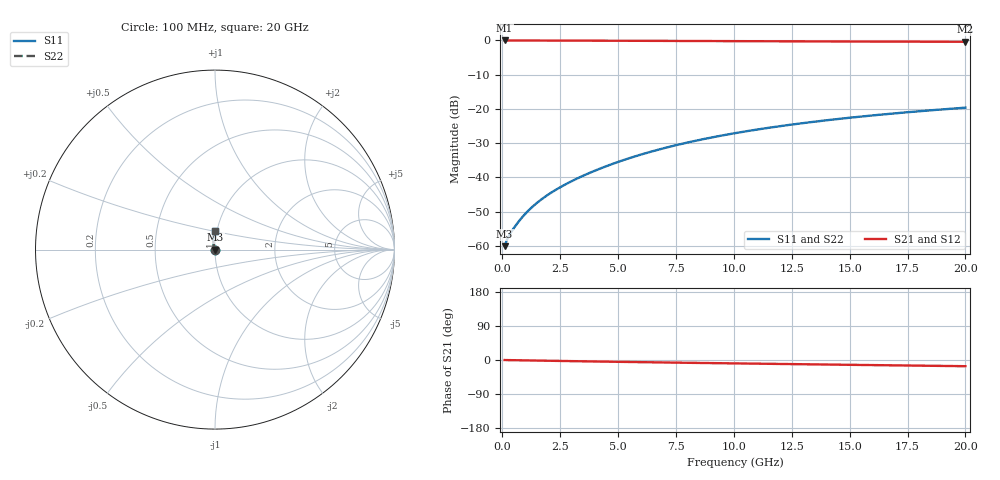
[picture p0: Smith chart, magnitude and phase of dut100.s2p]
! Touchstone file exported from HFSS 2024.1.0
!  File:  C:/UserFiles/LocalFiles/RDL_TSV_Batchsim/temp_RDL_bottom_100_1778695147.aedt
!  Generated:  02:01:37 AM May 14, 2026
!  Design:  RDL_bottom
!  Project:  temp_RDL_bottom_100_1778695147
!  Setup:  Setup1
!  Solution:  Sweep
! Variables:
!  dtsv = 10.80580581um
!  hbump = 3um
!  htsv = 74.01um
!  ldown = 273.04um
!  lrdl = 100um
!  p = 40
!  p1 = 41.92um
!  rhole = 1um
!  t = 450um
!  tdown = 4.8um
!  trdl = 3.915915916um
!  wdown = 29.93um
!  wrdl = 20um
# GHz S MA R 50.000000
! Terminal data exported
! Port[1] = RDL1_T1
! Port[2] = RDL1_T2
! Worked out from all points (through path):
!   200 points, 100 MHz to 20 GHz, reference 50 ohm
!   highest |S21| = -0.01 dB at 100 MHz (marker M1); lowest = -0.4 dB at 20 GHz (marker M2)
!   group delay of S21, straight-line fit = 2.22 ps
!   lowest |S11| = -60.1 dB at 100 MHz (marker M3), VSWR 1.00, Z = 50.1 + j0.0416 ohm
!   |S11| at or under -10 dB: start of sweep to end of sweep
!   |S22| runs from -60.1 to -19.6 dB; largest |S21 - S12| = 3.1e-15
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0.1  0.0009867 24.9  0.9991 -0.1  0.9991 -0.1  0.0009867 24.9
! Gamma 0 0 0 0
! Port Impedance 50 0 50 0
0.2  0.001225 35.7  0.999 -0.2  0.999 -0.2  0.001225 35.7
0.3  0.001426 42.8  0.9989 -0.3  0.9989 -0.3  0.001426 42.8
0.5  0.001817 54.2  0.9987 -0.5  0.9987 -0.5  0.001817 54.2
0.7  0.002246 62.8  0.9985 -0.7  0.9985 -0.7  0.002246 62.8
0.9  0.002709 69.2  0.9983 -0.9  0.9983 -0.9  0.002709 69.2
1.3  0.003712 78.0  0.9979 -1.3  0.9979 -1.3  0.003712 78.0
1.7  0.004789 83.9  0.9974 -1.7  0.9974 -1.7  0.004789 83.9
2.2  0.006236 89.3  0.9965 -2.2  0.9965 -2.2  0.006235 89.3
2.8  0.008129 94.1  0.9952 -2.8  0.9952 -2.8  0.008129 94.1
3.5  0.01058 98.1  0.9935 -3.5  0.9935 -3.5  0.01058 98.1
4.2  0.01332 100.9  0.9916 -4.1  0.9916 -4.1  0.01332 100.9
5  0.01678 103.0  0.9893 -4.9  0.9893 -4.9  0.01678 103.0
5.9  0.02106 104.2  0.9866 -5.6  0.9866 -5.6  0.02105 104.2
6.8  0.02568 104.6  0.984 -6.4  0.984 -6.4  0.02567 104.5
8.4  0.03452 103.9  0.9793 -7.7  0.9793 -7.7  0.03452 103.8
10.1  0.04448 102.1  0.9748 -9.0  0.9748 -9.0  0.04447 102.1
11.7  0.05412 100.0  0.9709 -10.3  0.9709 -10.3  0.05411 100.0
13.4  0.06448 97.7  0.9672 -11.5  0.9672 -11.5  0.06447 97.7
15  0.07423 95.4  0.964 -12.7  0.964 -12.7  0.07421 95.4
16.7  0.08452 93.1  0.9608 -14.0  0.9608 -14.0  0.0845 93.1
20  0.1042 88.8  0.9553 -16.4  0.9553 -16.4  0.1042 88.8
